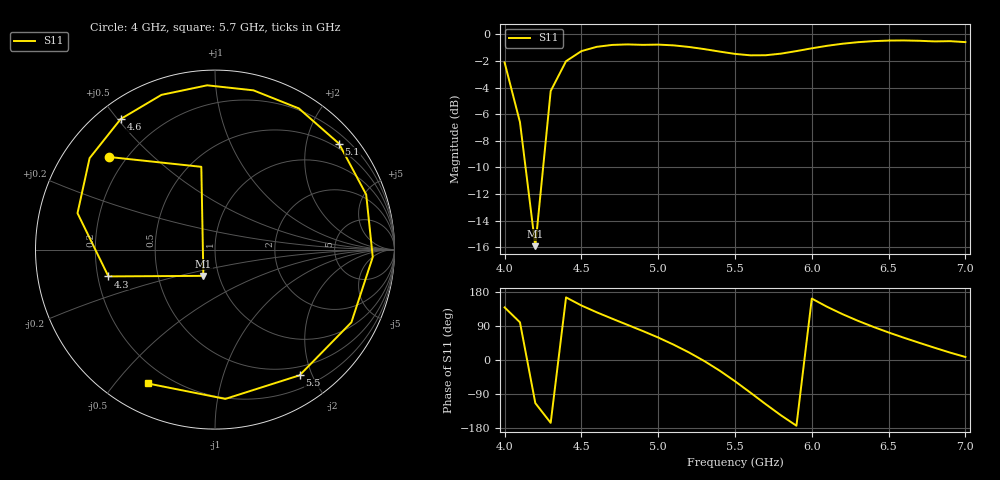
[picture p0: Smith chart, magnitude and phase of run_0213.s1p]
! Touchstone file exported from HFSS 2024.2.0
!  File:  C:/Users/wsak9/Desktop/Sim Fast/Widenad Patch/WP_AI_V1_sweep.aedt
!  Generated:  11:51:39 PM Oct 13, 2026
!  Design:  A1_model
!  Project:  WP_AI_V1_sweep
!  Setup:  Setup1
!  Solution:  Sweep
! Variables:
!  Air_gap = 4.06mm
!  Curve_Amp1 = 2.36
!  Curve_len1 = 1
!  Curve_pos = 13.47mm
!  Extra = 5.79mm
!  H_sub = 0.79mm
!  L_Patch = 22.94mm
!  L_Patch1 = 14.48mm
!  Sx = 2.72mm
!  Sy = 3.25mm
!  WS = 0.86mm
!  W_Patch = 19.24mm
!  W_Patch1 = 8.69mm
!Data is not renormalized
# GHz S MA
! Terminal data exported
! Port[1] = 1
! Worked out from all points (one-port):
!   31 points, 4 GHz to 7 GHz, reference per port
!   lowest |S11| = -15.9 dB at 4.2 GHz (marker M1), VSWR 1.38
!   |S11| at or under -10 dB: 4.136 GHz to 4.251 GHz (114.3 MHz wide, 2.73 % of centre)
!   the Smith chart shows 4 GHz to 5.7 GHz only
!   S11 on the Smith chart (normalised r, x): 4 GHz: 0.14, +0.37; 4.3 GHz: 0.24, -0.12; 4.6 GHz: 0.07, +0.51; 5.1 GHz: 0.39, +2.66; 5.5 GHz: 0.37, -1.82; 5.7 GHz: 0.12, -0.61
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4  0.7833 138.8
4.1  0.4674 99.4
4.2  0.16 -113.9
4.3  0.6123 -165.9
4.4  0.7925 165.2
4.5  0.8648 143.9
4.6  0.8974 125.8
4.7  0.9123 109.1
4.8  0.9163 92.7
4.9  0.9128 76.4
5  0.9149 59.3
5.1  0.9088 40.5
5.2  0.8964 20.0
5.3  0.8799 -2.7
5.4  0.8612 -28.1
5.5  0.8441 -56.1
5.6  0.8338 -86.0
5.7  0.8345 -116.6
5.8  0.8461 -146.2
5.9  0.8649 -173.5
6  0.8859 162.1
6.1  0.9055 140.3
6.2  0.9217 120.9
6.3  0.9341 103.5
6.5  0.9472 72.7
6.7  0.9455 45.3
6.9  0.9424 19.5
7  0.9348 8.0
